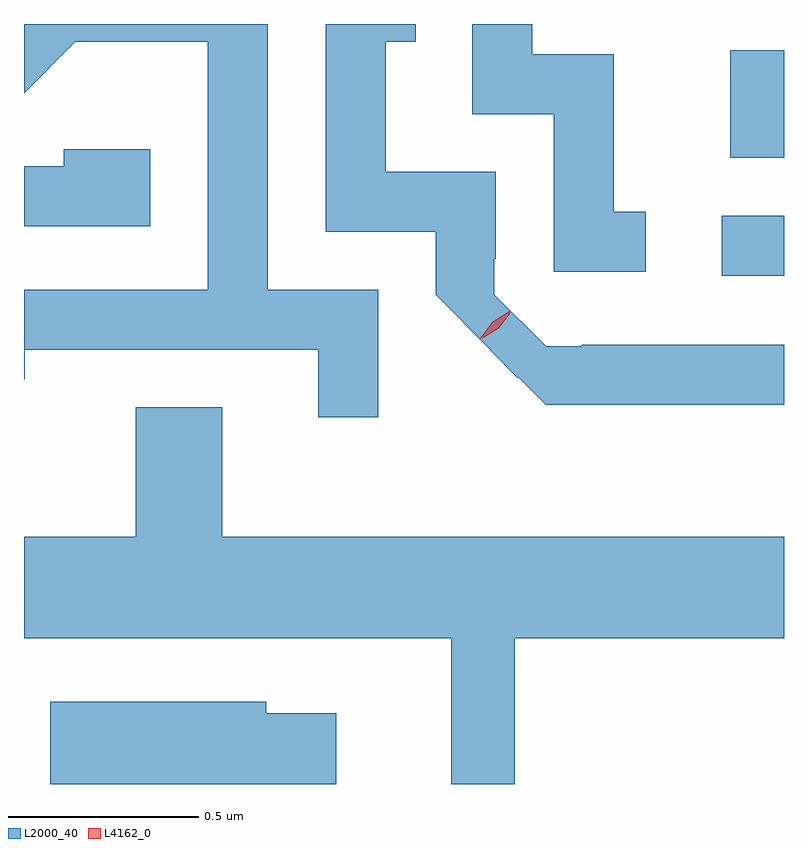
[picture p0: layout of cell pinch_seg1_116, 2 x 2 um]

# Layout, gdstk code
import gdstk
lib = gdstk.Library(unit=1e-6, precision=1e-09)
def R(c, l, rs):  # rectangles x0, y0, x1, y1
    for r in rs: c.add(gdstk.rectangle(r[:2], r[2:], *l))
def P(c, l, *ps):  # polygons
    for p in ps: c.add(gdstk.Polygon(p, *l))
L2000_40 = (2000, 40)
L4162_0 = (4162, 0)

pinch_seg1_116 = lib.new_cell('pinch_seg1_116')
R(pinch_seg1_116, L2000_40, [(214.873,867.231,215.037,867.389), (214.896,867.541,215.037,867.824)])
P(pinch_seg1_116, L2000_40, [(213.969,867.194),(213.679,867.194),(213.679,867.893),(213.037,867.893),(213.037,867.711),(213.172,867.846),(213.521,867.846),(213.521,867.194),(213.037,867.194),(213.037,866.958),(213.039,866.958),(213.039,867.036),(213.811,867.036),(213.811,866.858),(213.969,866.858)],
  [(214.673,867.399),(214.589,867.399),(214.589,867.814),(214.374,867.814),(214.374,867.893),(214.216,867.893),(214.216,867.656),(214.431,867.656),(214.431,867.241),(214.673,867.241)],
  [(215.037,867.049),(214.505,867.049),(214.505,867.045),(214.411,867.045),(214.275,867.181),(214.275,867.275),(214.279,867.275),(214.279,867.504),(213.989,867.504),(213.989,867.846),(214.068,867.846),(214.068,867.893),(213.831,867.893),(213.831,867.346),(214.121,867.346),(214.121,867.18),(214.265,867.035),(214.264,867.034),(214.336,866.961),(214.338,866.963),(214.41,866.891),(215.037,866.891)],
  [(213.369,867.564),(213.141,867.564),(213.141,867.519),(213.037,867.519),(213.037,867.361),(213.369,867.361)],
  [(214.329,866.276),(215.037,866.276),(215.037,866.544),(213.559,866.544),(213.559,866.884),(213.331,866.884),(213.331,866.544),(213.037,866.544),(213.037,866.276),(214.161,866.276),(214.161,865.893),(214.329,865.893)],
  [(213.859,866.079),(213.674,866.079),(213.674,866.109),(213.106,866.109),(213.106,865.893),(213.859,865.893)])
P(pinch_seg1_116, L4162_0, [(214.237,867.065),(214.237,867.066),(214.27,867.109),(214.316,867.139),(214.316,867.139),(214.316,867.139),(214.283,867.095),(214.238,867.065)],
  [(214.243,867.066),(214.243,867.066),(214.272,867.107),(214.315,867.133),(214.316,867.133),(214.316,867.132),(214.286,867.092),(214.244,867.066)])

lib.write_gds('pinch_seg1_116.gds')
